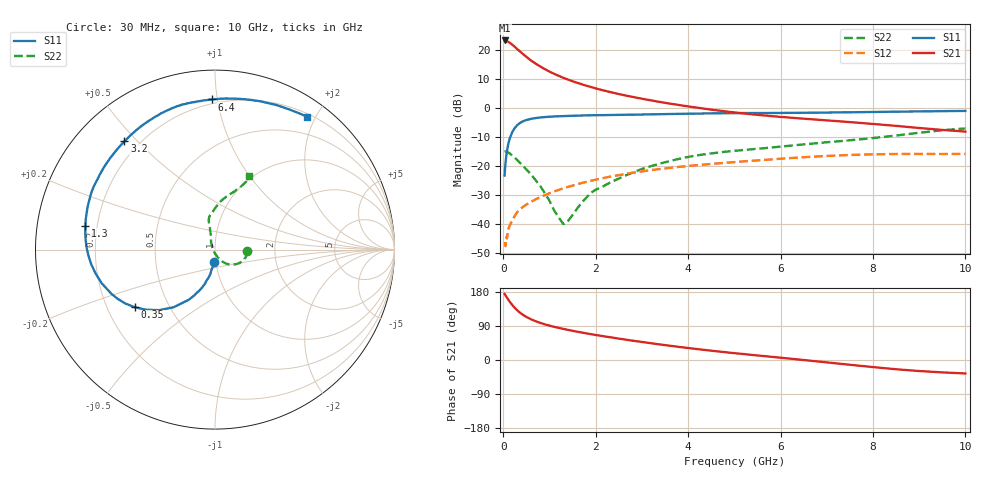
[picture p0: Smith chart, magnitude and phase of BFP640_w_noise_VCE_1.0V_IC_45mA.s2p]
! Infineon Technologies  Discrete & RF Semiconductors
! BFP640
! VCE =  1.0 V,  IC =  45 mA
! Common Emitter S-Parameters:  Apr 2013
# GHz  S  MA  R  50
!  f  S11  S21  S12  S22
! GHz  MAG  ANG  MAG  ANG  MAG  ANG  MAG  ANG
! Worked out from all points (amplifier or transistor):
!   99 points, 30 MHz to 10 GHz, reference 50 ohm
!   highest |S21| = 23.4 dB at 30 MHz (marker M1)
!   |S21| within 3 dB of that: start of sweep to 305.9 MHz
!   unconditionally stable (mu >= 1): start of sweep to end of sweep
!   at 350 MHz: K = 2.00, MAG = 21.7 dB, |S12| = -35.0 dB
!   at 3.5 GHz: K = 1.73, MAG = 6.3 dB, |S12| = -20.7 dB
!   at 10 GHz: K = 1.59, MAG = -0.6 dB, |S12| = -15.7 dB
!   lowest NFmin = 1.34 dB at 450 MHz
!   S11 on the Smith chart (normalised r, x): 30 MHz: 0.98, -0.14; 350 MHz: 0.32, -0.29; 1.3 GHz: 0.15, +0.09; 3.2 GHz: 0.15, +0.46; 6.4 GHz: 0.17, +0.96; 10 GHz: 0.24, +1.89
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0.03  0.0694 -93.1  14.79 174.4  0.0044 31.6  0.1791 -2.8
0.09  0.1998 -106.5  14.23 162.9  0.0063 43.6  0.1766 -13.8
0.12  0.2623 -112.9  13.8 157.4  0.0086 50.5  0.1709 -18.6
0.15  0.316 -117.7  13.34 152.3  0.0098 53.7  0.1644 -23.3
0.2  0.3947 -125.6  12.43 144.5  0.012 53.6  0.1539 -29.9
0.25  0.4582 -132.6  11.48 137.6  0.0139 54.1  0.1416 -35.0
0.35  0.5496 -144.2  9.765 126.2  0.0178 54.3  0.1171 -45.0
0.4  0.5825 -148.9  8.994 121.5  0.0193 54.4  0.1071 -48.7
0.5  0.6272 -156.8  7.727 113.8  0.0219 53.2  0.0885 -54.8
0.6  0.6587 -163.5  6.693 107.5  0.0244 53.9  0.0726 -60.6
0.7  0.6789 -168.8  5.905 102.4  0.0269 54.2  0.0577 -65.1
0.9  0.7064 -177.5  4.741 94.1  0.0318 54.5  0.0344 -75.3
1.3  0.7342 169.5  3.36 82.1  0.0418 54.4  0.0101 -150.5
1.7  0.7515 159.4  2.6 72.5  0.0516 52.8  0.0238 129.9
2.3  0.7664 146.7  1.919 60.2  0.066 48.8  0.0518 115.0
3.2  0.7866 129.9  1.37 44.2  0.0861 41.3  0.1009 104.7
3.4  0.7922 126.5  1.283 40.9  0.0898 39.4  0.1121 104.2
5.1  0.8264 103.8  0.833 16.9  0.1199 24.7  0.1877 99.2
6.4  0.8365 91.2  0.671 1.2  0.1419 13.4  0.2346 89.2
6.7  0.8413 88.0  0.645 -2.6  0.1465 10.5  0.2468 87.0
8.5  0.8753 66.9  0.498 -24.4  0.1632 -7.5  0.3396 71.8
10  0.9015 55.2  0.397 -35.5  0.1635 -17.5  0.4503 64.8
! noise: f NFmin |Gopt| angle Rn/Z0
0.45  1.34  0.29  -171  0.08
0.9  1.35  0.32  -158  0.09
1.5  1.36  0.35  -145  0.12
1.9  1.39  0.36  222  0.14
2.4  1.47  0.38  -126  0.16
3.5  1.6  0.42  -109  0.2
5.5  1.85  0.45  -92  0.34
10  2.45  0.65  -47  0.99
